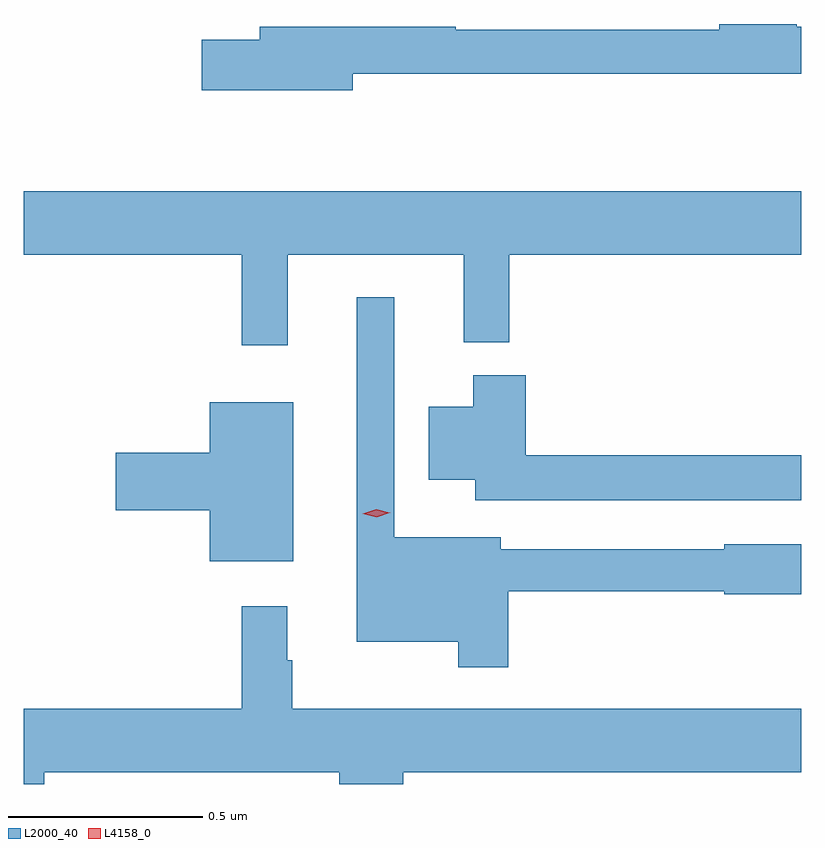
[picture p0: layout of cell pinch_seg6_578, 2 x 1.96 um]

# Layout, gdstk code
import gdstk
lib = gdstk.Library(unit=1e-6, precision=1e-09)
def P(c, l, *ps):  # polygons
    for p in ps: c.add(gdstk.Polygon(p, *l))
L2000_40 = (2000, 40)
L4158_0 = (4158, 0)

pinch_seg6_578 = lib.new_cell('pinch_seg6_578')
P(pinch_seg6_578, L2000_40, [(623.932,969.114),(625.086,969.114),(625.086,969.235),(625.075,969.235),(625.075,969.242),(624.875,969.242),(624.875,969.227),(624.197,969.227),(624.197,969.235),(623.693,969.235),(623.693,969.201),(623.544,969.201),(623.544,969.071),(623.932,969.071)],
  [(623.765,968.648),(624.218,968.648),(624.218,968.423),(624.335,968.423),(624.335,968.648),(625.086,968.648),(625.086,968.812),(623.086,968.812),(623.086,968.648),(623.647,968.648),(623.647,968.415),(623.765,968.415)],
  [(624.332,967.782),(624.888,967.782),(624.888,967.774),(625.086,967.774),(625.086,967.903),(624.888,967.903),(624.888,967.89),(624.313,967.89),(624.313,967.921),(624.039,967.921),(624.039,968.539),(623.942,968.539),(623.942,967.652),(624.204,967.652),(624.204,967.587),(624.332,967.587)],
  [(625.086,968.132),(624.377,968.132),(624.377,968.338),(624.242,968.338),(624.242,968.257),(624.128,968.257),(624.128,968.069),(624.248,968.069),(624.248,968.016),(625.086,968.016)],
  [(623.779,968.269),(623.564,968.269),(623.564,968.138),(623.322,968.138),(623.322,967.991),(623.564,967.991),(623.564,967.859),(623.779,967.859)],
  [(623.138,967.316),(623.897,967.316),(623.897,967.286),(624.062,967.286),(624.062,967.316),(625.086,967.316),(625.086,967.48),(623.776,967.48),(623.776,967.604),(623.764,967.604),(623.764,967.744),(623.647,967.744),(623.647,967.48),(623.086,967.48),(623.086,967.286),(623.138,967.286)])
P(pinch_seg6_578, L4158_0, [(623.994,967.973),(623.958,967.981),(623.957,967.981),(623.958,967.981),(623.993,967.993),(624.028,967.984),(624.029,967.984),(624.028,967.984)])

lib.write_gds('pinch_seg6_578.gds')
